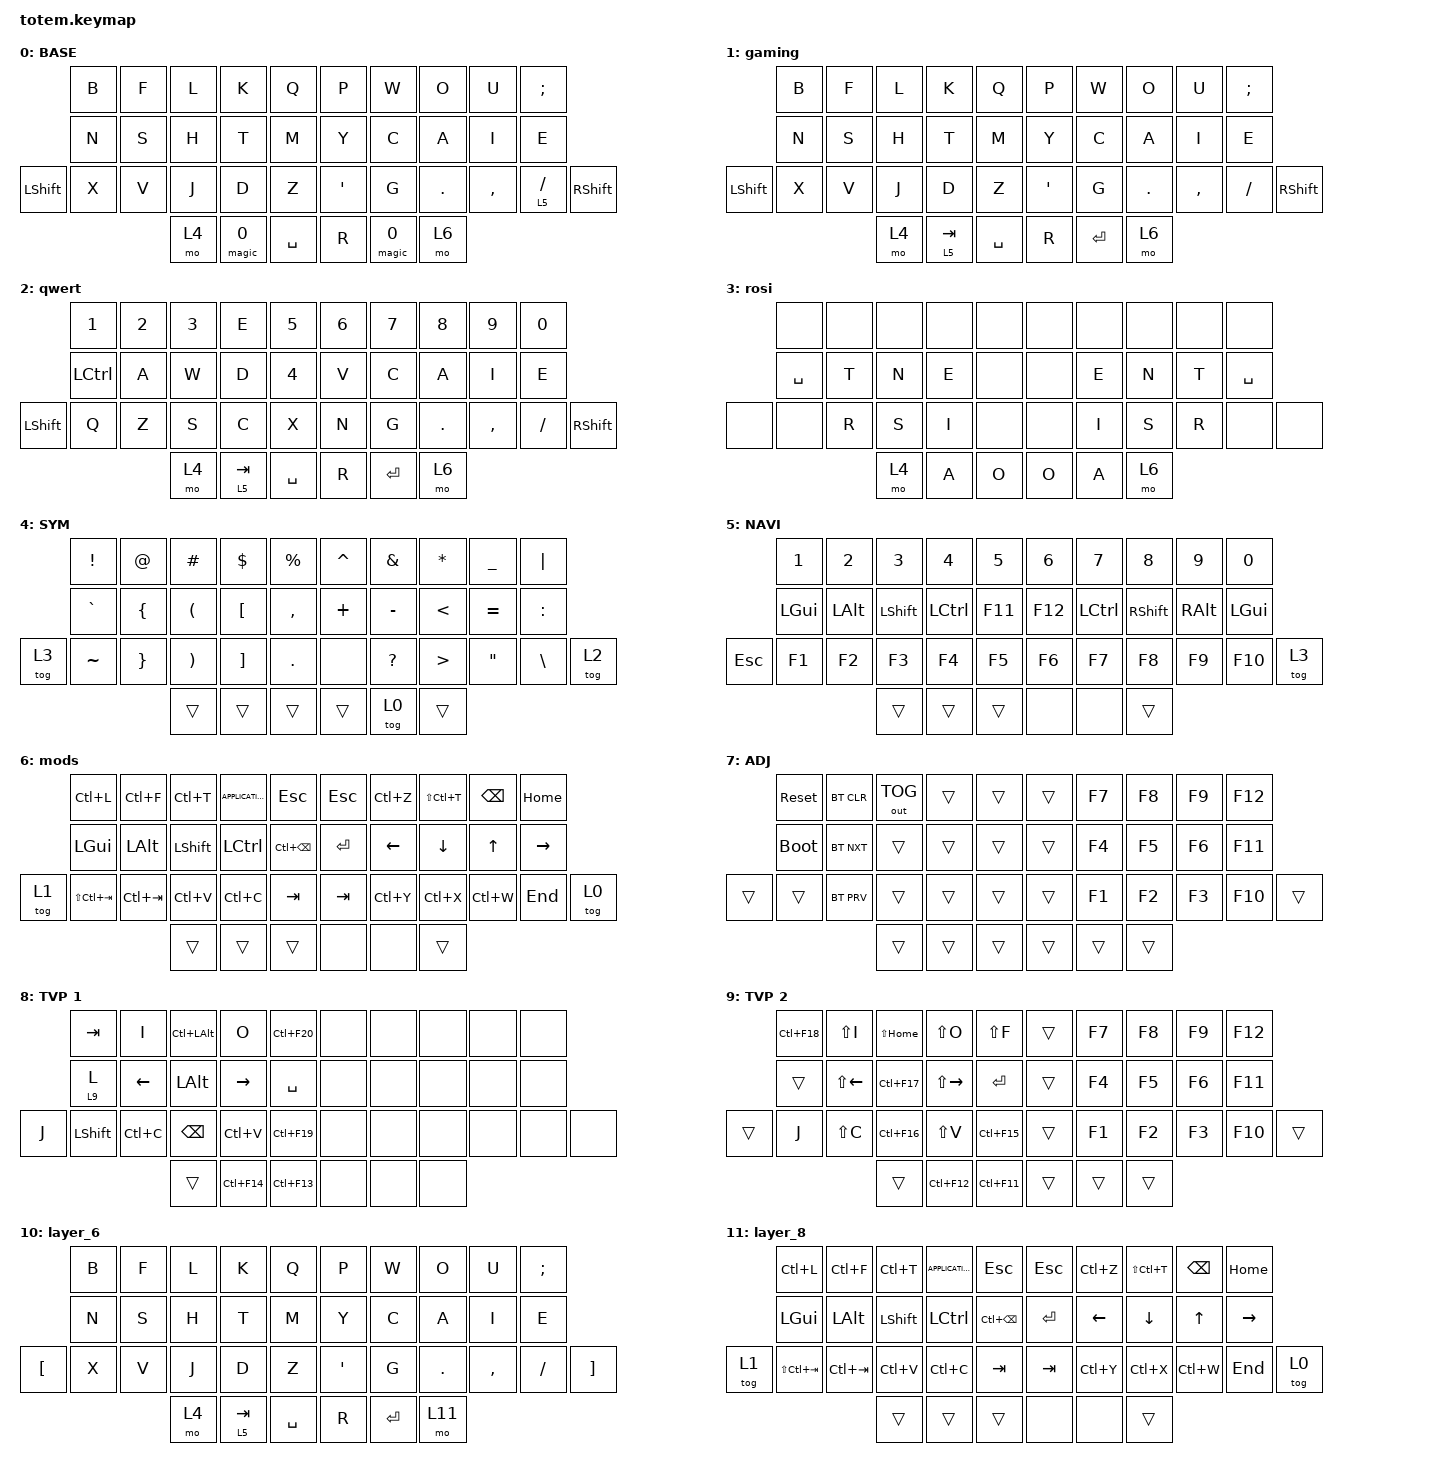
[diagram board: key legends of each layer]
//                                                        ▀▀▀▀▀     ▀▀▀▀▀          ▀▀█▀▀
//                                                        ▄▀▀▀▄  ▄  ▄▀▀▀▄  ▄  ▄▀▀▀▄  █  ▄▀▀▀▄
//                                                        █   █  █  █   █  █  █   █  █  █   █
//                                                         ▀▀▀   █   ▀▀▀   █   ▀▀▀   ▀   ▀▀▀
//                                                               █      ▄▄▄█▄▄▄    █   █  
//                                                               ▀      █  █  █     █▄█
//                                                             ▀▀▀▀▀    █  █  █      ▀
//                                                                      ▀  ▀  ▀
//
// ▄▄▄▄▄▄▄▄▄▄▄▄▄▄▄▄▄▄▄▄▄▄▄▄▄▄▄▄▄▄▄▄▄▄▄▄▄▄▄▄▄▄▄▄▄▄▄▄▄▄▄▄▄▄▄▄▄▄▄▄▄▄▄▄▄▄▄▄▄▄▄▄▄▄▄▄▄▄▄▄▄▄▄▄▄▄▄▄▄▄▄▄▄▄▄▄▄▄▄▄▄▄▄▄▄▄▄▄▄▄▄▄▄▄▄▄▄▄▄▄▄▄▄▄▄▄▄▄▄▄▄▄▄▄▄▄▄▄▄▄▄▄▄▄▄▄▄▄▄

#define BASE 0
#define NAV  1
#define SYM  2
#define ADJ  3
#define TVP1 4
#define TVP2 5
#define ZMK_POINTING_DEFAULT_MOVE_VAL 1700  // default: 600
#define ZMK_POINTING_DEFAULT_SCRL_VAL 10    // default: 10

#include <behaviors.dtsi>
#include <dt-bindings/zmk/bt.h>
#include <dt-bindings/zmk/keys.h>
#include <dt-bindings/zmk/outputs.h>

&mt {
    quick-tap-ms = <100>;
    global-quick-tap;
    flavor = "tap-preferred";
    tapping-term-ms = <170>;
};

&sk {
    release-after-ms = <100>;
    lazy;
};

&mmv { time-to-max-speed-ms = <400>; };

/ {
    combos {
        compatible = "zmk,combos";
        combo-term-ms = <1>;

        homeMod {
            bindings = <&sk LS(LA(LC(LEFT_GUI)))>;
            key-positions = <32 33>;
            layers = <0 1 10>;
        };

        escapeCombo {
            bindings = <&kp ESCAPE>;
            key-positions = <21 20>;
            layers = <0 3 1>;
        };

        mouse {
            bindings = <&tog 10>;
            key-positions = <33 36>;
            layers = <0 1 10>;
        };

        navLayerCombo {
            bindings = <&mo 5>;
            key-positions = <34 33>;
            layers = <0 5>;
        };

        gui_layer {
            bindings = <&sk LEFT_GUI>;
            key-positions = <32 37>;
            layers = <0 3 1>;
        };

        h_combo {
            bindings = <&kp H>;
            key-positions = <23 12>;
            layers = <3>;
        };

        u_combo {
            bindings = <&kp U>;
            key-positions = <13 24>;
            layers = <3>;
        };

        l_combo {
            bindings = <&kp L>;
            key-positions = <22 11>;
            layers = <3>;
        };

        d_combo {
            bindings = <&kp D>;
            key-positions = <11 12>;
            layers = <3>;
        };

        y_combo {
            bindings = <&kp Y>;
            key-positions = <24 23>;
            layers = <3>;
        };

        m_combo {
            bindings = <&kp M>;
            key-positions = <12 13>;
            layers = <3>;
            timeout-ms = <20>;
        };

        c_combo {
            bindings = <&kp C>;
            key-positions = <23 22>;
            layers = <3>;
        };

        w_combo {
            bindings = <&kp W>;
            key-positions = <22 24>;
            layers = <3>;
        };

        f_combo {
            bindings = <&kp F>;
            key-positions = <24 11>;
            layers = <3>;
        };

        p_combo {
            bindings = <&kp P>;
            key-positions = <11 13>;
            layers = <3>;
        };

        g_combo {
            bindings = <&kp G>;
            key-positions = <11 23>;
            layers = <3>;
        };

        b_combo {
            bindings = <&kp B>;
            key-positions = <23 13>;
            layers = <3>;
        };

        v_combo {
            bindings = <&kp V>;
            key-positions = <24 12>;
            layers = <3>;
        };

        k_combo {
            bindings = <&kp K>;
            key-positions = <12 22>;
            layers = <3>;
        };

        x_combo {
            bindings = <&kp X>;
            key-positions = <22 13>;
            layers = <3>;
        };

        j_combo {
            bindings = <&kp J>;
            key-positions = <11 12 24>;
            layers = <3>;
        };

        z_combo {
            bindings = <&kp Z>;
            key-positions = <22 23 13>;
            layers = <3>;
        };

        q_combo {
            bindings = <&kp Q>;
            key-positions = <22 13 12>;
            layers = <3>;
        };

        period_combo {
            bindings = <&kp PERIOD>;
            key-positions = <11 12 13>;
            layers = <3>;
        };

        comma_combo {
            bindings = <&kp COMMA>;
            key-positions = <22 23 24>;
            layers = <3>;
        };

        shift_combo {
            bindings = <&sk LEFT_SHIFT>;
            key-positions = <33 34>;
            layers = <3>;
        };

        combo_exit_pinchord {
            bindings = <&tog 10>;
            key-positions = <32 37>;
            layers = <10>;
        };

        h2_combo {
            bindings = <&kp H>;
            key-positions = <28 17>;
            layers = <3>;
        };

        u2_combo {
            bindings = <&kp U>;
            key-positions = <27 16>;
            layers = <3>;
        };

        l2_combo {
            bindings = <&kp L>;
            key-positions = <29 18>;
            layers = <3>;
        };

        d2_combo {
            bindings = <&kp D>;
            key-positions = <18 17>;
            layers = <3>;
        };

        y2_combo {
            bindings = <&kp Y>;
            key-positions = <27 28>;
            layers = <3>;
        };

        m2_combo {
            bindings = <&kp M>;
            key-positions = <16 17>;
            layers = <3>;
        };

        c2_combo {
            bindings = <&kp C>;
            key-positions = <29 28>;
            layers = <3>;
        };

        w2_combo {
            bindings = <&kp W>;
            key-positions = <27 29>;
            layers = <3>;
        };

        f2_combo {
            bindings = <&kp F>;
            key-positions = <18 27>;
            layers = <3>;
        };

        p2_combo {
            bindings = <&kp P>;
            key-positions = <16 18>;
            layers = <3>;
        };

        g2_combo {
            bindings = <&kp G>;
            key-positions = <18 28>;
            layers = <3>;
        };

        b2_combo {
            bindings = <&kp B>;
            key-positions = <28 16>;
            layers = <3>;
        };

        v2_combo {
            bindings = <&kp V>;
            key-positions = <27 17>;
            layers = <3>;
        };

        k2_combo {
            bindings = <&kp K>;
            key-positions = <29 17>;
            layers = <3>;
        };

        j2_combo {
            bindings = <&kp J>;
            key-positions = <27 17 18>;
            layers = <3>;
        };

        z2_combo {
            bindings = <&kp Z>;
            key-positions = <29 28 16>;
            layers = <3>;
        };

        q2_combo {
            bindings = <&kp Q>;
            key-positions = <29 17 16>;
            layers = <3>;
        };

        period2_combo {
            bindings = <&kp PERIOD>;
            key-positions = <16 17 18>;
            layers = <3>;
        };

        comma2_combo {
            bindings = <&kp COMMA>;
            key-positions = <27 28 29>;
            layers = <3>;
        };

        shift2_combo {
            bindings = <&sk LEFT_SHIFT>;
            key-positions = <35 36>;
            layers = <3>;
        };
    };

    macros {
        repeat_maybe: repeat_maybe {
            compatible = "zmk,behavior-macro";
            #binding-cells = <0>;
            bindings = <&key_repeat>;
            label = "REPEAT_MAYBE";
        };

        macro_repeat: macro_repeat {
            compatible = "zmk,behavior-macro";
            #binding-cells = <0>;
            bindings = <&key_repeat>;
            label = "MACRO_REPEAT";
        };

        macro_ctrl_backspace: macro_ctrl_backspace {
            compatible = "zmk,behavior-macro";
            #binding-cells = <0>;
            bindings = <&kp LC(BACKSPACE)>;
            label = "MACRO_CTRL_BACKSPACE";
            wait-ms = <0>;
            tap-ms = <0>;
        };
    };

    behaviors {
        layer_repeat: layer_repeat {
            compatible = "zmk,behavior-hold-tap";
            label = "LAYER_REPEAT";
            bindings = <&mo>, <&repeat_maybe>;

            #binding-cells = <2>;
            tapping-term-ms = <10>;
            flavor = "tap-preferred";
        };

        sticky_shift: sticky_shift {
            compatible = "zmk,behavior-sticky-key";
            label = "STICKY_SHIFT";
            bindings = <&kp>;
            #binding-cells = <1>;
            release-after-ms = <0>;
            quick-release;
            ignore-modifiers;
        };

        magic: magic_keys {
            compatible = "zmk,behavior-magic-keys";
            label = "MAGIC_KEYS";
            #binding-cells = <1>;
            magic-rules = <
                A Y
                U COMMA
            >;

            skip-magic-rules = <
                A O
                B N
                D T
                F S
                K T
                L R
                M K
                O A
                R L
                U I
                COMMA I
                DOT I
                MINUS I
                SLASH A
                SEMI E
            >;
        };
    };

    keymap {
        compatible = "zmk,keymap";

        // ▄▄▄▄▄▄▄▄▄▄▄▄▄▄▄▄▄▄▄▄▄▄▄▄▄▄▄▄▄▄▄▄▄▄▄▄▄▄▄▄▄▄▄▄▄▄▄▄▄▄▄▄▄▄▄▄▄▄▄▄▄▄▄▄▄▄▄▄▄▄▄▄▄▄▄▄▄▄▄▄▄▄▄▄▄▄▄▄▄▄▄▄▄▄▄▄▄▄▄▄▄▄▄▄▄▄▄▄▄▄▄▄▄▄▄▄▄▄▄▄▄▄▄▄▄▄▄▄▄▄▄▄▄▄▄▄▄▄▄▄▄▄▄▄▄▄▄▄▄

        base_layer {
            // ┏━━━━━━━━━━━━━━━━━━━━━━━━━━━━━━━━━━━━━━━┓

            label = "BASE";

            // ┗━━━━━━━━━━━━━━━━━━━━━━━━━━━━━━━━━━━━━━━┛
            //             ┏━━━━━━━━━━━┳━━━━━━━━━━━┳━━━━━━━━━━━┳━━━━━━━━━━━┳━━━━━━━━━━━┓   ┏━━━━━━━━━━━┳━━━━━━━━━━━┳━━━━━━━━━━━┳━━━━━━━━━━━┳━━━━━━━━━━━┓
            //             ┃     Q     ┃     W     ┃     F     ┃     P     ┃     G     ┃   ┃     J     ┃     L     ┃     U     ┃     Y     ┃     ;     ┃
            //             ┣━━━━━━━━━━━╋━━━━━━━━━━━╋━━━━━━━━━━━╋━━━━━━━━━━━╋━━━━━━━━━━━┫   ┣━━━━━━━━━━━╋━━━━━━━━━━━╋━━━━━━━━━━━╋━━━━━━━━━━━╋━━━━━━━━━━━┫
            //             ┃     A     ┃     R     ┃     S     ┃     T     ┃     D     ┃   ┃     H     ┃     N     ┃     E     ┃     I     ┃     O     ┃
            // ┏━━━━━━━━━━━╋━━━━━━━━━━━╋━━━━━━━━━━━╋━━━━━━━━━━━╋━━━━━━━━━━━╋━━━━━━━━━━━┫   ┣━━━━━━━━━━━╋━━━━━━━━━━━╋━━━━━━━━━━━╋━━━━━━━━━━━╋━━━━━━━━━━━╋━━━━━━━━━━━┓
            // ┃     Q     ┃     Z     ┃     X     ┃     C     ┃     V     ┃     B     ┃   ┃     K     ┃     M     ┃     ,     ┃     .     ┃     /     ┃     \     ┃
            // ┗━━━━━━━━━━━┻━━━━━━━━━━━┻━━━━━━━━━━━╋━━━━━━━━━━━╋━━━━━━━━━━━╋━━━━━━━━━━━┫   ┣━━━━━━━━━━━╋━━━━━━━━━━━╋━━━━━━━━━━━╋━━━━━━━━━━━┻━━━━━━━━━━━┻━━━━━━━━━━━┛
            //                                     ┃    DEL    ┃    TAB    ┃    SPC    ┃   ┃   ENTER   ┃           ┃   BSPC    ┃
            //                                     ┗━━━━━━━━━━━┻━━━━━━━━━━━┻━━━━━━━━━━━┛   ┗━━━━━━━━━━━┻━━━━━━━━━━━┻━━━━━━━━━━━┛

            bindings = <
                &kp B  &kp F  &kp L  &kp K     &kp Q        &kp P    &kp W     &kp O       &kp U      &kp SEMICOLON
                &kp N  &kp S  &kp H  &kp T     &kp M        &kp Y    &kp C     &kp A       &kp I      &kp E
&kp LEFT_SHIFT  &kp X  &kp V  &kp J  &kp D     &kp Z        &kp SQT  &kp G     &kp PERIOD  &kp COMMA  &lt 5 SLASH    &kp RIGHT_SHIFT
                              &mo 4  &magic 0  &kp SPACE    &kp R    &magic 0  &mo 6
            >;
        };

        gaming_layer {
            label = "gaming";
            bindings = <
                &kp B  &kp F  &kp L  &kp K      &kp Q        &kp P    &kp W      &kp O       &kp U      &kp SEMICOLON
                &kp N  &kp S  &kp H  &kp T      &kp M        &kp Y    &kp C      &kp A       &kp I      &kp E
&kp LEFT_SHIFT  &kp X  &kp V  &kp J  &kp D      &kp Z        &kp SQT  &kp G      &kp PERIOD  &kp COMMA  &kp SLASH      &kp RIGHT_SHIFT
                              &mo 4  &lt 5 TAB  &kp SPACE    &kp R    &kp ENTER  &mo 6
            >;
        };

        qwerty_layer {
            label = "qwert";
            bindings = <
                &kp NUMBER_1  &kp NUMBER_2  &kp NUMBER_3  &kp E      &kp N5          &kp N6  &kp N7     &kp N8      &kp N9     &kp N0
                &kp LCTRL     &kp A         &kp W         &kp D      &kp NUMBER_4    &kp V   &kp C      &kp A       &kp I      &kp E
&kp LEFT_SHIFT  &kp Q         &kp Z         &kp S         &kp C      &kp X           &kp N   &kp G      &kp PERIOD  &kp COMMA  &kp SLASH  &kp RIGHT_SHIFT
                                            &mo 4         &lt 5 TAB  &kp SPACE       &kp R   &kp ENTER  &mo 6
            >;
        };

        rosi {
            bindings = <
       &none      &none  &none  &none  &none    &none  &none  &none  &none  &none
       &kp SPACE  &kp T  &kp N  &kp E  &none    &none  &kp E  &kp N  &kp T  &kp SPACE
&none  &none      &kp R  &kp S  &kp I  &none    &none  &kp I  &kp S  &kp R  &none      &none
                         &mo 4  &kp A  &kp O    &kp O  &kp A  &mo 6
            >;
        };

        sim_layer {
            // ┏━━━━━━━━━━━━━━━━━━━━━━━━━━━━━━━━━━━━━━━┓

            label = "SYM";

            // ┗━━━━━━━━━━━━━━━━━━━━━━━━━━━━━━━━━━━━━━━┛
            //             ┏━━━━━━━━━━━┳━━━━━━━━━━━┳━━━━━━━━━━━┳━━━━━━━━━━━┳━━━━━━━━━━━┓   ┏━━━━━━━━━━━┳━━━━━━━━━━━┳━━━━━━━━━━━┳━━━━━━━━━━━┳━━━━━━━━━━━┓
            //             ┃     !     ┃     @     ┃     #     ┃     $     ┃     %     ┃   ┃     ˆ     ┃     &     ┃     Ü     ┃     '     ┃     "     ┃
            //             ┣━━━━━━━━━━━╋━━━━━━━━━━━╋━━━━━━━━━━━╋━━━━━━━━━━━╋━━━━━━━━━━━┫   ┣━━━━━━━━━━━╋━━━━━━━━━━━╋━━━━━━━━━━━╋━━━━━━━━━━━╋━━━━━━━━━━━┫
            //             ┃     Ä     ┃           ┃    SZ     ┃           ┃           ┃   ┃   MUTE    ┃   YEN     ┃   EURO    ┃  POUND    ┃     Ö     ┃
            // ┏━━━━━━━━━━━╋━━━━━━━━━━━╋━━━━━━━━━━━╋━━━━━━━━━━━╋━━━━━━━━━━━╋━━━━━━━━━━━┫   ┣━━━━━━━━━━━╋━━━━━━━━━━━╋━━━━━━━━━━━╋━━━━━━━━━━━╋━━━━━━━━━━━╋━━━━━━━━━━━┓
            // ┃           ┃  EMAIL1   ┃  EMAIL2   ┃           ┃           ┃           ┃   ┃   VOL-    ┃   VOL+    ┃   LAST    ┃   NEXT    ┃     \     ┃           ┃
            // ┗━━━━━━━━━━━┻━━━━━━━━━━━┻━━━━━━━━━━━╋━━━━━━━━━━━╋━━━━━━━━━━━╋━━━━━━━━━━━┫   ┣━━━━━━━━━━━╋━━━━━━━━━━━╋━━━━━━━━━━━╋━━━━━━━━━━━┻━━━━━━━━━━━┻━━━━━━━━━━━┛
            //                                     ┃           ┃    GIF    ┃    ADJ    ┃   ┃           ┃           ┃           ┃
            //                                     ┗━━━━━━━━━━━┻━━━━━━━━━━━┻━━━━━━━━━━━┛   ┗━━━━━━━━━━━┻━━━━━━━━━━━┻━━━━━━━━━━━┛

            bindings = <
        &kp EXCL   &kp AT           &kp HASH               &kp DLLR           &kp PRCNT     &kp CARET  &kp AMPS      &kp ASTERISK      &kp UNDER          &kp PIPE
        &kp GRAVE  &kp LEFT_BRACE   &kp LEFT_PARENTHESIS   &kp LEFT_BRACKET   &kp COMMA     &kp PLUS   &kp MINUS     &kp LESS_THAN     &kp EQUAL          &kp COLON
&tog 3  &kp TILDE  &kp RIGHT_BRACE  &kp RIGHT_PARENTHESIS  &kp RIGHT_BRACKET  &kp PERIOD    &none      &kp QUESTION  &kp GREATER_THAN  &kp DOUBLE_QUOTES  &kp BSLH   &tog 2
                                    &trans                 &trans             &trans        &trans     &tog 0        &trans
            >;
        };

        nav_layer {
            // ┏━━━━━━━━━━━━━━━━━━━━━━━━━━━━━━━━━━━━━━━┓

            label = "NAVI";

            // ┗━━━━━━━━━━━━━━━━━━━━━━━━━━━━━━━━━━━━━━━┛
            //             ┏━━━━━━━━━━━┳━━━━━━━━━━━┳━━━━━━━━━━━┳━━━━━━━━━━━┳━━━━━━━━━━━┓   ┏━━━━━━━━━━━┳━━━━━━━━━━━┳━━━━━━━━━━━┳━━━━━━━━━━━┳━━━━━━━━━━━┓
            //             ┃           ┃           ┃     UP    ┃           ┃     {     ┃   ┃     }     ┃     7     ┃     8     ┃     9     ┃     +     ┃
            //             ┣━━━━━━━━━━━╋━━━━━━━━━━━╋━━━━━━━━━━━╋━━━━━━━━━━━╋━━━━━━━━━━━┫   ┣━━━━━━━━━━━╋━━━━━━━━━━━╋━━━━━━━━━━━╋━━━━━━━━━━━╋━━━━━━━━━━━┫
            //             ┃   SHIFT   ┃   LEFT    ┃    DOWN   ┃   RIGHT   ┃     [     ┃   ┃     ]     ┃     4     ┃     5     ┃     6     ┃     -     ┃
            // ┏━━━━━━━━━━━╋━━━━━━━━━━━╋━━━━━━━━━━━╋━━━━━━━━━━━╋━━━━━━━━━━━╋━━━━━━━━━━━┫   ┣━━━━━━━━━━━╋━━━━━━━━━━━╋━━━━━━━━━━━╋━━━━━━━━━━━╋━━━━━━━━━━━╋━━━━━━━━━━━┓
            // ┃           ┃           ┃   P UP    ┃  C LOCK   ┃  P DOWN   ┃     (     ┃   ┃     )     ┃     1     ┃     2     ┃     3     ┃     *     ┃           ┃
            // ┗━━━━━━━━━━━┻━━━━━━━━━━━┻━━━━━━━━━━━╋━━━━━━━━━━━╋━━━━━━━━━━━╋━━━━━━━━━━━┫   ┣━━━━━━━━━━━╋━━━━━━━━━━━╋━━━━━━━━━━━╋━━━━━━━━━━━┻━━━━━━━━━━━┻━━━━━━━━━━━┛
            //                                     ┃           ┃    TAB    ┃    SPC    ┃   ┃    DEL    ┃     0     ┃           ┃
            //                                     ┗━━━━━━━━━━━┻━━━━━━━━━━━┻━━━━━━━━━━━┛   ┗━━━━━━━━━━━┻━━━━━━━━━━━┻━━━━━━━━━━━┛

            bindings = <
         &kp N1        &kp N2        &kp N3          &kp N4            &kp NUMBER_5    &kp N6   &kp N7            &kp N8           &kp N9         &kp N0
         &kp LEFT_GUI  &kp LEFT_ALT  &kp LEFT_SHIFT  &kp LEFT_CONTROL  &kp F11         &kp F12  &kp LEFT_CONTROL  &kp RIGHT_SHIFT  &kp RIGHT_ALT  &kp LEFT_GUI
&kp ESC  &kp F1        &kp F2        &kp F3          &kp F4            &kp F5          &kp F6   &kp F7            &kp F8           &kp F9         &kp F10       &tog 3
                                     &trans          &trans            &trans          &none    &none             &trans
            >;
        };

        layer_7 {
            label = "mods";
            bindings = <
        &kp LC(L)        &kp LC(F)     &kp LC(T)       &kp K_APPLICATION  &kp ESC              &kp ESC    &kp LC(Z)  &kp LS(LC(T))  &kp BACKSPACE  &kp HOME
        &kp LEFT_GUI     &kp LEFT_ALT  &kp LEFT_SHIFT  &kp LEFT_CONTROL   &kp LC(BACKSPACE)    &kp ENTER  &kp LEFT   &kp DOWN       &kp UP         &kp RIGHT
&tog 1  &kp LS(LC(TAB))  &kp LC(TAB)   &kp LC(V)       &kp LC(C)          &kp TAB              &kp TAB    &kp LC(Y)  &kp LC(X)      &kp LC(W)      &kp END    &tog 0
                                       &trans          &trans             &trans               &none      &none      &trans
            >;
        };

        adjust_layer {
            // ┏━━━━━━━━━━━━━━━━━━━━━━━━━━━━━━━━━━━━━━━┓

            label = "ADJ";

            // ┗━━━━━━━━━━━━━━━━━━━━━━━━━━━━━━━━━━━━━━━┛
            //             ┏━━━━━━━━━━━┳━━━━━━━━━━━┳━━━━━━━━━━━┳━━━━━━━━━━━┳━━━━━━━━━━━┓   ┏━━━━━━━━━━━┳━━━━━━━━━━━┳━━━━━━━━━━━┳━━━━━━━━━━━┳━━━━━━━━━━━┓
            //             ┃   RESET   ┃ BT CLEAR  ┃  OUT TOG  ┃           ┃           ┃   ┃           ┃    F7     ┃    F8     ┃    F9     ┃    F12    ┃
            //             ┣━━━━━━━━━━━╋━━━━━━━━━━━╋━━━━━━━━━━━╋━━━━━━━━━━━╋━━━━━━━━━━━┫   ┣━━━━━━━━━━━╋━━━━━━━━━━━╋━━━━━━━━━━━╋━━━━━━━━━━━╋━━━━━━━━━━━┫
            //             ┃ BOOTLOAD  ┃ BT NEXT   ┃           ┃           ┃           ┃   ┃           ┃    F4     ┃    F5     ┃    F6     ┃    F11    ┃
            // ┏━━━━━━━━━━━╋━━━━━━━━━━━╋━━━━━━━━━━━╋━━━━━━━━━━━╋━━━━━━━━━━━╋━━━━━━━━━━━┫   ┣━━━━━━━━━━━╋━━━━━━━━━━━╋━━━━━━━━━━━╋━━━━━━━━━━━╋━━━━━━━━━━━╋━━━━━━━━━━━┓
            // ┃           ┃           ┃ BT PREV   ┃           ┃           ┃           ┃   ┃           ┃    F1     ┃    F2     ┃    F3     ┃    F10    ┃           ┃
            // ┗━━━━━━━━━━━┻━━━━━━━━━━━┻━━━━━━━━━━━╋━━━━━━━━━━━╋━━━━━━━━━━━╋━━━━━━━━━━━┫   ┣━━━━━━━━━━━╋━━━━━━━━━━━╋━━━━━━━━━━━╋━━━━━━━━━━━┻━━━━━━━━━━━┻━━━━━━━━━━━┛
            //                                     ┃           ┃           ┃           ┃   ┃           ┃           ┃           ┃
            //                                     ┗━━━━━━━━━━━┻━━━━━━━━━━━┻━━━━━━━━━━━┛   ┗━━━━━━━━━━━┻━━━━━━━━━━━┻━━━━━━━━━━━┛

            bindings = <
        &sys_reset   &bt BT_CLR  &out OUT_TOG  &trans  &trans    &trans  &kp F7  &kp F8  &kp F9  &kp F12
        &bootloader  &bt BT_NXT  &trans        &trans  &trans    &trans  &kp F4  &kp F5  &kp F6  &kp F11
&trans  &trans       &bt BT_PRV  &trans        &trans  &trans    &trans  &kp F1  &kp F2  &kp F3  &kp F10  &trans
                                 &trans        &trans  &trans    &trans  &trans  &trans
            >;
        };

        tvp1_layer {
            // ┏━━━━━━━━━━━━━━━━━━━━━━━━━━━━━━━━━━━━━━━┓

            label = "TVP 1";

            // ┗━━━━━━━━━━━━━━━━━━━━━━━━━━━━━━━━━━━━━━━┛
            //             ┏━━━━━━━━━━━┳━━━━━━━━━━━┳━━━━━━━━━━━┳━━━━━━━━━━━┳━━━━━━━━━━━┓   ┏━━━━━━━━━━━┳━━━━━━━━━━━┳━━━━━━━━━━━┳━━━━━━━━━━━┳━━━━━━━━━━━┓
            //             ┃ NEXT FILE ┃ MARK IN   ┃ ROTATE    ┃ MARK OUT  ┃ SHOW SNAP ┃   ┃           ┃           ┃           ┃           ┃           ┃
            //             ┣━━━━━━━━━━━╋━━━━━━━━━━━╋━━━━━━━━━━━╋━━━━━━━━━━━╋━━━━━━━━━━━┫   ┣━━━━━━━━━━━╋━━━━━━━━━━━╋━━━━━━━━━━━╋━━━━━━━━━━━╋━━━━━━━━━━━┫
            //             ┃ TVP II    ┃ LEFT      ┃ PAN       ┃ RIGHT     ┃ PLAY/FLIP ┃   ┃           ┃           ┃           ┃           ┃           ┃
            // ┏━━━━━━━━━━━╋━━━━━━━━━━━╋━━━━━━━━━━━╋━━━━━━━━━━━╋━━━━━━━━━━━╋━━━━━━━━━━━┫   ┣━━━━━━━━━━━╋━━━━━━━━━━━╋━━━━━━━━━━━╋━━━━━━━━━━━╋━━━━━━━━━━━╋━━━━━━━━━━━┓
            // ┃ FULLSCR   ┃ SHIFT     ┃ COPY      ┃ DELETE    ┃ PASTE     ┃ IMG MARK  ┃   ┃           ┃           ┃           ┃           ┃           ┃           ┃
            // ┗━━━━━━━━━━━┻━━━━━━━━━━━┻━━━━━━━━━━━╋━━━━━━━━━━━╋━━━━━━━━━━━╋━━━━━━━━━━━┫   ┣━━━━━━━━━━━╋━━━━━━━━━━━╋━━━━━━━━━━━╋━━━━━━━━━━━┻━━━━━━━━━━━┻━━━━━━━━━━━┛
            //                                     ┃           ┃ UNDO/SAVE ┃  SEL/MOV  ┃   ┃           ┃           ┃           ┃
            //                                     ┗━━━━━━━━━━━┻━━━━━━━━━━━┻━━━━━━━━━━━┛   ┗━━━━━━━━━━━┻━━━━━━━━━━━┻━━━━━━━━━━━┛

            bindings = <
       &kp TAB    &kp I      &kp LC(LALT)  &kp O        &kp LC(F20)    &none  &none  &none  &none  &none
       &lt 9 L    &kp LEFT   &kp LALT      &kp RIGHT    &kp SPACE      &none  &none  &none  &none  &none
&kp J  &kp LSHFT  &kp LC(C)  &kp BSPC      &kp LC(V)    &kp LC(F19)    &none  &none  &none  &none  &none  &none
                             &trans        &kp LC(F14)  &kp LC(F13)    &none  &none  &none
            >;
        };

        tvp2_layer {
            // ┏━━━━━━━━━━━━━━━━━━━━━━━━━━━━━━━━━━━━━━━┓

            label = "TVP 2";

            // ┗━━━━━━━━━━━━━━━━━━━━━━━━━━━━━━━━━━━━━━━┛
            //             ┏━━━━━━━━━━━┳━━━━━━━━━━━┳━━━━━━━━━━━┳━━━━━━━━━━━┳━━━━━━━━━━━┓   ┏━━━━━━━━━━━┳━━━━━━━━━━━┳━━━━━━━━━━━┳━━━━━━━━━━━┳━━━━━━━━━━━┓
            //             ┃ SOLO      ┃ TOGGLE IN ┃ RESET ROT ┃ TOGGLE OUT┃ TAKE SNAP ┃   ┃           ┃           ┃           ┃           ┃           ┃
            //             ┣━━━━━━━━━━━╋━━━━━━━━━━━╋━━━━━━━━━━━╋━━━━━━━━━━━╋━━━━━━━━━━━┫   ┣━━━━━━━━━━━╋━━━━━━━━━━━╋━━━━━━━━━━━╋━━━━━━━━━━━╋━━━━━━━━━━━┫
            //             ┃ ---       ┃ LAST KEY  ┃ NEW KEY   ┃ NEXT KEY  ┃ ENTER     ┃   ┃           ┃           ┃           ┃           ┃           ┃
            // ┏━━━━━━━━━━━╋━━━━━━━━━━━╋━━━━━━━━━━━╋━━━━━━━━━━━╋━━━━━━━━━━━╋━━━━━━━━━━━┫   ┣━━━━━━━━━━━╋━━━━━━━━━━━╋━━━━━━━━━━━╋━━━━━━━━━━━╋━━━━━━━━━━━╋━━━━━━━━━━━┓
            // ┃           ┃ FULLSCR   ┃ CPY2BRUSH ┃ DEL HEAD  ┃ PSTinPLACE┃ BOOK MARK ┃   ┃           ┃           ┃           ┃           ┃           ┃           ┃
            // ┗━━━━━━━━━━━┻━━━━━━━━━━━┻━━━━━━━━━━━╋━━━━━━━━━━━╋━━━━━━━━━━━╋━━━━━━━━━━━┫   ┣━━━━━━━━━━━╋━━━━━━━━━━━╋━━━━━━━━━━━╋━━━━━━━━━━━┻━━━━━━━━━━━┻━━━━━━━━━━━┛
            //                                     ┃           ┃ REDO/SAV1 ┃TRANS/WARP ┃   ┃           ┃           ┃           ┃
            //                                     ┗━━━━━━━━━━━┻━━━━━━━━━━━┻━━━━━━━━━━━┛   ┗━━━━━━━━━━━┻━━━━━━━━━━━┻━━━━━━━━━━━┛

            bindings = <
        &kp LC(F18)  &kp LS(I)     &kp LS(HOME)  &kp LS(O)      &kp LS(F)      &trans  &kp F7  &kp F8  &kp F9  &kp F12
        &trans       &kp LS(LEFT)  &kp LC(F17)   &kp LS(RIGHT)  &kp RET        &trans  &kp F4  &kp F5  &kp F6  &kp F11
&trans  &kp J        &kp LS(C)     &kp LC(F16)   &kp LS(V)      &kp LC(F15)    &trans  &kp F1  &kp F2  &kp F3  &kp F10  &trans
                                   &trans        &kp LC(F12)    &kp LC(F11)    &trans  &trans  &trans
            >;
        };

        layer_6 {
            bindings = <
                  &kp B  &kp F  &kp L  &kp K      &kp Q        &kp P    &kp W      &kp O       &kp U      &kp SEMICOLON
                  &kp N  &kp S  &kp H  &kp T      &kp M        &kp Y    &kp C      &kp A       &kp I      &kp E
&kp LEFT_BRACKET  &kp X  &kp V  &kp J  &kp D      &kp Z        &kp SQT  &kp G      &kp PERIOD  &kp COMMA  &kp SLASH      &kp RIGHT_BRACKET
                                &mo 4  &lt 5 TAB  &kp SPACE    &kp R    &kp ENTER  &mo 11
            >;
        };

        layer_8 {
            bindings = <
        &kp LC(L)        &kp LC(F)     &kp LC(T)       &kp K_APPLICATION  &kp ESC              &kp ESC    &kp LC(Z)  &kp LS(LC(T))  &kp BACKSPACE  &kp HOME
        &kp LEFT_GUI     &kp LEFT_ALT  &kp LEFT_SHIFT  &kp LEFT_CONTROL   &kp LC(BACKSPACE)    &kp ENTER  &kp LEFT   &kp DOWN       &kp UP         &kp RIGHT
&tog 1  &kp LS(LC(TAB))  &kp LC(TAB)   &kp LC(V)       &kp LC(C)          &kp TAB              &kp TAB    &kp LC(Y)  &kp LC(X)      &kp LC(W)      &kp END    &tog 0
                                       &trans          &trans             &trans               &none      &none      &trans
            >;
        };
    };
};
